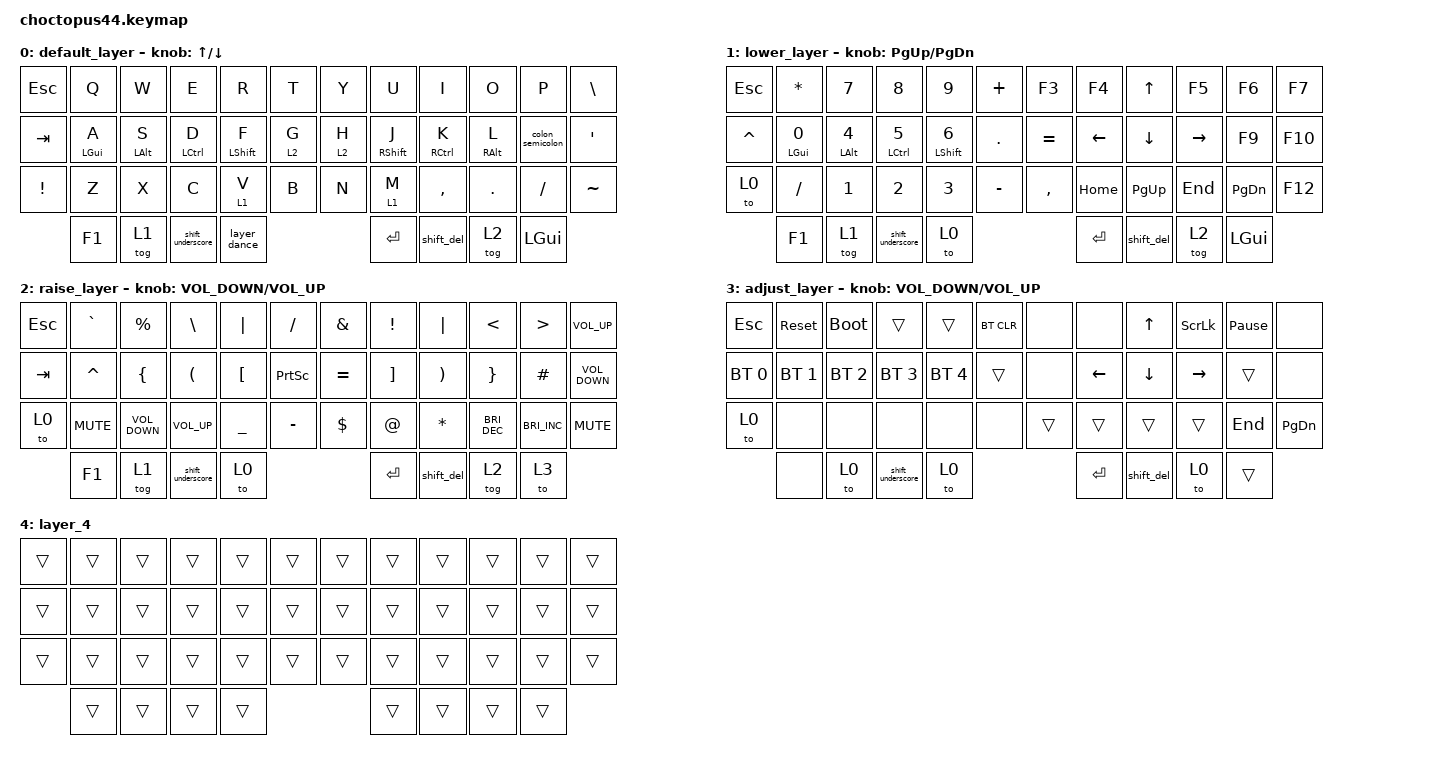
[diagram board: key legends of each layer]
/*
 * Copyright (c) 2021 The ZMK Contributors
 *
 * SPDX-License-Identifier: MIT
 */

#include <behaviors.dtsi>
#include <dt-bindings/zmk/bt.h>
#include <dt-bindings/zmk/keys.h>

&mt { flavor = "tap-preferred"; };

/ {
    behaviors {
        shift_del: shift_del {
            compatible = "zmk,behavior-mod-morph";
            label = "SHIFT_DEL";
            bindings = <&kp BACKSPACE>, <&kp DELETE>;

            #binding-cells = <0>;
            mods = <(MOD_RSFT|MOD_LSFT)>;
        };

        shift_underscore: shift_underscore {
            compatible = "zmk,behavior-mod-morph";
            label = "SHIFT_UNDERSCORE";
            bindings = <&kp SPACE>, <&kp UNDER>;

            #binding-cells = <0>;
            mods = <(MOD_RSFT|MOD_LSFT)>;
        };

        layer_dance: layer_dance {
            compatible = "zmk,behavior-tap-dance";
            label = "LAYER_DANCE";
            #binding-cells = <0>;
            bindings = <&to 1>, <&to 2>, <&to 3>;

            tapping-term-ms = <400>;
        };

        colon_semicolon: colon_semicolon {
            compatible = "zmk,behavior-mod-morph";
            label = "COLON_SEMICOLON";
            bindings = <&kp COLON>, <&kp SEMI>;

            #binding-cells = <0>;
            mods = <(MOD_LSFT|MOD_RSFT)>;
        };
    };

    combos {
        compatible = "zmk,combos";

        esc_combo {
            bindings = <&kp ESCAPE>;
            key-positions = <1 2>;
        };

        tab_combo {
            bindings = <&kp TAB>;
            key-positions = <13 14>;
        };

        ctrlz {
            bindings = <&kp LC(Z)>;
            key-positions = <25 26>;
        };

        ctrlx {
            bindings = <&kp LC(X)>;
            key-positions = <26 27>;
        };

        ctrlc {
            bindings = <&kp LC(C)>;
            key-positions = <27 28>;
        };

        ctrlv {
            bindings = <&kp LC(V)>;
            key-positions = <29 28>;
        };

        quote_combo {
            bindings = <&kp SINGLE_QUOTE>;
            key-positions = <22 21>;
        };

        bslash_combo {
            bindings = <&kp BACKSLASH>;
            key-positions = <10 9>;
        };

        tilde_combo {
            bindings = <&kp TILDE>;
            key-positions = <34 33>;
        };

        capsword_combo {
            bindings = <&caps_word>;
            key-positions = <16 19>;
        };

        F1_combo {
            bindings = <&kp F1>;
            key-positions = <1 4>;
        };

        f2_combo {
            bindings = <&kp F2>;
            key-positions = <7 10>;
        };

        brackets_combos {
            bindings = <&brackets>;
            key-positions = <31 28>;
        };

        parentheses_combo {
            bindings = <&parentheses>;
            key-positions = <27 32>;
        };

        braces_combo {
            bindings = <&braces>;
            key-positions = <26 33>;
        };
    };

    macros {
        brackets: brackets {
            compatible = "zmk,behavior-macro";
            #binding-cells = <0>;
            bindings = <&kp LEFT_BRACKET &kp RIGHT_BRACKET &kp LEFT_ARROW>;
            label = "BRACKETS";
        };

        parentheses: parentheses {
            compatible = "zmk,behavior-macro";
            #binding-cells = <0>;
            bindings = <&kp LEFT_PARENTHESIS &kp RIGHT_PARENTHESIS &kp LEFT_ARROW>;
            label = "PARENTHESES";
        };

        braces: braces {
            compatible = "zmk,behavior-macro";
            #binding-cells = <0>;
            bindings = <&kp LEFT_BRACE &kp RIGHT_BRACE &kp LEFT_ARROW>;
            label = "BRACES";
        };
    };

    keymap {
        compatible = "zmk,keymap";

        default_layer {
            bindings = <
&kp ESC          &kp Q           &kp W           &kp E              &kp R             &kp T      &kp Y    &kp U              &kp I        &kp O            &kp P             &kp BACKSLASH
&kp TAB          &mt LEFT_GUI A  &mt LEFT_ALT S  &mt LCTRL D        &mt LEFT_SHIFT F  &lt 2 G    &lt 2 H  &mt RIGHT_SHIFT J  &mt RCTRL K  &mt RIGHT_ALT L  &colon_semicolon  &kp SQT
&kp EXCLAMATION  &kp Z           &kp X           &kp C              &lt 1 V           &kp B      &kp N    &lt 1 M            &kp COMMA    &kp PERIOD       &kp SLASH         &kp TILDE
                 &kp F1          &tog 1          &shift_underscore  &layer_dance                          &kp ENTER          &shift_del   &tog 2           &kp LEFT_GUI
            >;

            sensor-bindings = <&inc_dec_kp UP_ARROW DOWN_ARROW>;
        };

        lower_layer {
            bindings = <
&kp ESCAPE  &kp ASTERISK  &kp N7           &kp N8             &kp N9        &kp PLUS      &kp F3     &kp F4          &kp UP_ARROW    &kp F5     &kp F6         &kp F7
&kp CARET   &mt LGUI N0   &mt LEFT_ALT N4  &mt LCTRL N5       &mt LSHFT N6  &kp PERIOD    &kp EQUAL  &kp LEFT_ARROW  &kp DOWN_ARROW  &kp RIGHT  &kp F9         &kp F10
&to 0       &kp SLASH     &kp N1           &kp N2             &kp N3        &kp MINUS     &kp COMMA  &kp HOME        &kp PAGE_UP     &kp END    &kp PAGE_DOWN  &kp F12
            &kp F1        &tog 1           &shift_underscore  &to 0                                  &kp ENTER       &shift_del      &tog 2     &kp LGUI
            >;

            //            sensor-bindings = <&inc_dec_kp UP DOWN>;

            sensor-bindings = <&inc_dec_kp PAGE_UP PAGE_DOWN>;
        };

        raise_layer {
            bindings = <
&kp ESCAPE  &kp GRAVE   &kp PERCENT        &kp BACKSLASH         &kp PIPE          &kp SLASH          &kp AMPERSAND  &kp EXCL           &kp PIPE               &kp LESS_THAN         &kp GREATER_THAN      &kp K_VOLUME_UP
&kp TAB     &kp CARET   &kp LEFT_BRACE     &kp LEFT_PARENTHESIS  &kp LEFT_BRACKET  &kp PRINTSCREEN    &kp EQUAL      &kp RIGHT_BRACKET  &kp RIGHT_PARENTHESIS  &kp RIGHT_BRACE       &kp HASH              &kp K_VOLUME_DOWN
&to 0       &kp C_MUTE  &kp C_VOLUME_DOWN  &kp C_VOLUME_UP       &kp UNDER         &kp MINUS          &kp DOLLAR     &kp AT             &kp ASTRK              &kp C_BRIGHTNESS_DEC  &kp C_BRIGHTNESS_INC  &kp C_MUTE
            &kp F1      &tog 1             &shift_underscore     &to 0                                               &kp ENTER          &shift_del             &tog 2                &to 3
            >;

            //            sensor-bindings = <&inc_dec_kp LEFT RIGHT>;

            sensor-bindings = <&inc_dec_kp K_VOLUME_DOWN K_VOLUME_UP>;
        };

        adjust_layer {
            bindings = <
&kp ESCAPE    &sys_reset    &bootloader   &trans             &trans        &bt BT_CLR    &none   &none      &kp UP_ARROW  &kp SLCK   &kp PAUSE_BREAK  &none
&bt BT_SEL 0  &bt BT_SEL 1  &bt BT_SEL 2  &bt BT_SEL 3       &bt BT_SEL 4  &trans        &none   &kp LEFT   &kp DOWN      &kp RIGHT  &trans           &none
&to 0         &none         &none         &none              &none         &none         &trans  &trans     &trans        &trans     &kp END          &kp PG_DN
              &none         &to 0         &shift_underscore  &to 0                               &kp ENTER  &shift_del    &to 0      &trans
            >;

            //            sensor-bindings = <&inc_dec_kp C_VOL_DN C_VOL_UP>;

            sensor-bindings = <&inc_dec_kp K_VOLUME_DOWN K_VOLUME_UP>;
        };

        layer_4 {
            bindings = <
&trans  &trans  &trans  &trans  &trans  &trans    &trans  &trans  &trans  &trans  &trans  &trans
&trans  &trans  &trans  &trans  &trans  &trans    &trans  &trans  &trans  &trans  &trans  &trans
&trans  &trans  &trans  &trans  &trans  &trans    &trans  &trans  &trans  &trans  &trans  &trans
        &trans  &trans  &trans  &trans                    &trans  &trans  &trans  &trans
            >;
        };
    };

    conditional_layers { compatible = "zmk,conditional-layers"; };
};
